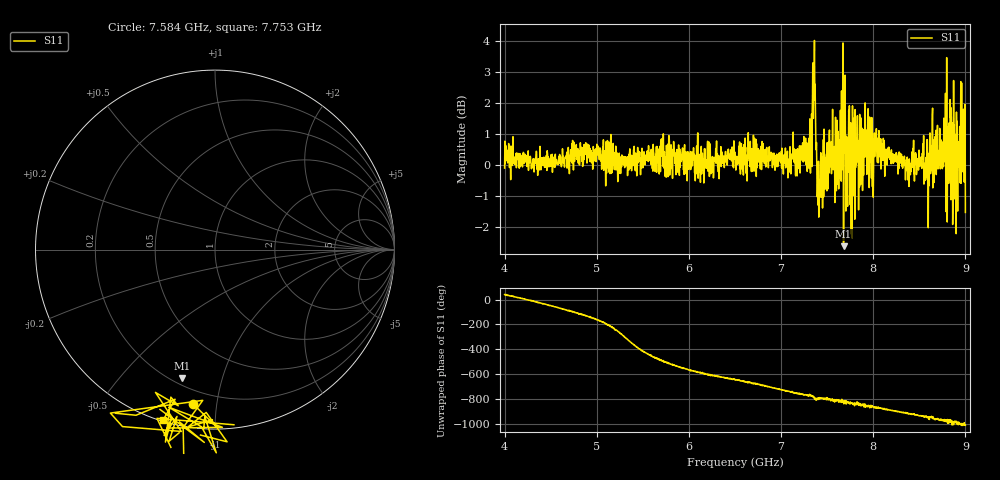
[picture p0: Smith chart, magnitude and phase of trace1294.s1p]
! Created with skrf 1.8.0 (http://scikit-rf.org).
# Hz S RI R 50.0
!freq ReS11 ImS11
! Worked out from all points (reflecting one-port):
!   1601 points, 4 GHz to 9 GHz, reference 50 ohm
!   lowest |S11| = -2.6 dB at 7.678 GHz (marker M1), VSWR 6.68, Z = 11.8 - j37.4 ohm
!   phase of S11 starts at 40 deg and turns -1052 deg over the sweep
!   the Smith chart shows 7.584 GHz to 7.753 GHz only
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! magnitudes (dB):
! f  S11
! 4 GHz  -0.1
! 4.625 GHz  0.1
! 4.897 GHz  0.2
! 5.25 GHz  -0.2
! 5.875 GHz  -0.2
! 6.5 GHz  0.2
! 7.125 GHz  0.2
! 7.294 GHz  0.2
! 7.347 GHz  2.2
! 7.362 GHz  4.0
! 7.4 GHz  0.0
! 7.412 GHz  -0.5
! 7.538 GHz  0.5
! 7.609 GHz  1.4
! 7.678 GHz  -2.6
! 7.703 GHz  -1.5
! 7.75 GHz  -1.3
! 7.775 GHz  1.9
! 7.828 GHz  1.6
! 7.928 GHz  0.6
! 8.375 GHz  -0.3
! 8.522 GHz  0.2
! 8.584 GHz  0.8
! 8.631 GHz  0.6
! 8.775 GHz  1.1
! 8.875 GHz  0.0
! 8.972 GHz  0.3
! 9 GHz  -1.5
